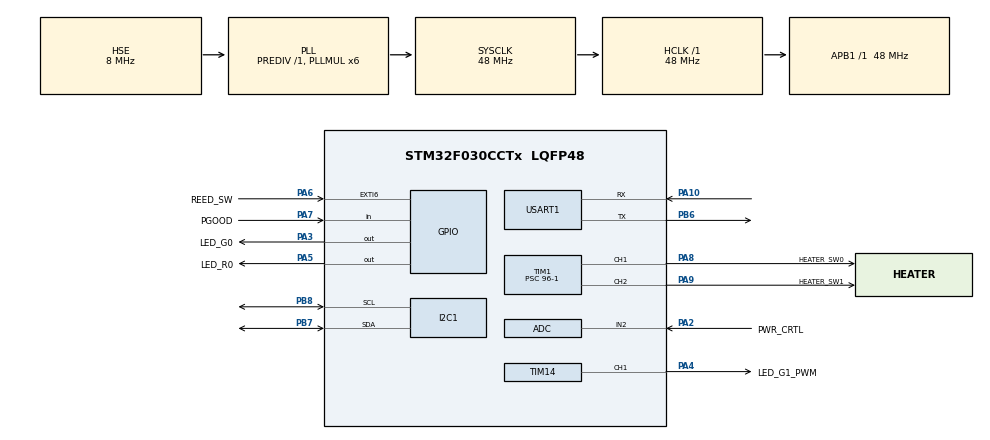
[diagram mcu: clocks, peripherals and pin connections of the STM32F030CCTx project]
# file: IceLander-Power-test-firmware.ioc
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I2C1.Timing=0x20303E5D
Mcu.Family=STM32F0
Mcu.Name=STM32F030CCTx
Mcu.Package=LQFP48
PA10.Mode=Asynchronous
PA10.Signal=USART1_RX
PA13.Mode=Serial_Wire
PA13.Signal=SYS_SWDIO
PA14.Mode=Serial_Wire
PA14.Signal=SYS_SWCLK
PA2.GPIO_Label=PWR_CRTL
PA2.Mode=IN2
PA2.Signal=ADC_IN2
PA3.GPIO_Label=LED_G0
PA3.Signal=GPIO_Output
PA4.GPIO_Label=LED_G1_PWM
PA4.Signal=S_TIM14_CH1
PA5.GPIO_Label=LED_R0
PA5.Signal=GPIO_Output
PA6.GPIO_Label=REED_SW
PA6.Signal=GPXTI6
PA7.GPIO_Label=PGOOD
PA7.Signal=GPIO_Input
PA8.GPIO_Label=HEATER_SW0
PA8.Signal=S_TIM1_CH1
PA9.GPIO_Label=HEATER_SW1
PA9.Signal=S_TIM1_CH2
PB6.Mode=Asynchronous
PB6.Signal=USART1_TX
PB7.Mode=I2C
PB7.Signal=I2C1_SDA
PB8.Mode=I2C
PB8.Signal=I2C1_SCL
PF0-OSC_IN.Mode=HSE-External-Oscillator
PF0-OSC_IN.Signal=RCC_OSC_IN
PF1-OSC_OUT.Mode=HSE-External-Oscillator
PF1-OSC_OUT.Signal=RCC_OSC_OUT
ProjectManager.HeapSize=0x200
ProjectManager.StackSize=0x400
ProjectManager.TargetToolchain=Makefile
RCC.AHBFreq_Value=48000000
RCC.APB1Freq_Value=48000000
RCC.APB1TimFreq_Value=48000000
RCC.HCLKFreq_Value=48000000
RCC.I2c1ClockSelection=RCC_I2C1CLKSOURCE_SYSCLK
RCC.PLLMUL=RCC_PLL_MUL6
RCC.PLLSourceVirtual=RCC_PLLSOURCE_HSE
RCC.SYSCLKFreq_VALUE=48000000
RCC.SYSCLKSource=RCC_SYSCLKSOURCE_PLLCLK
SH.S_TIM14_CH1.0=TIM14_CH1,PWM Generation1 CH1
SH.S_TIM1_CH1.0=TIM1_CH1,PWM Generation1 CH1
SH.S_TIM1_CH2.0=TIM1_CH2,PWM Generation2 CH2
TIM1.Channel-PWM\ Generation1\ CH1=TIM_CHANNEL_1
TIM1.Channel-PWM\ Generation2\ CH2=TIM_CHANNEL_2
TIM1.Period=5000-1
TIM1.Prescaler=96-1
TIM14.Channel=TIM_CHANNEL_1
TIM14.OCPolarity_1=TIM_OCPOLARITY_LOW
TIM14.Period=5000-1
TIM14.Prescaler=96-1
USART1.VirtualMode-Asynchronous=VM_ASYNC
VP_TIM14_VS_ClockSourceINT.Mode=Enable_Timer
VP_TIM1_VS_ClockSourceINT.Mode=Internal
board=custom

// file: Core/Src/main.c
/* USER CODE BEGIN Header */
/**
  ******************************************************************************
  * @file           : main.c
  * @brief          : Main program body
  ******************************************************************************
  * @attention
  *
  * <h2><center>&copy; Copyright (c) 2020 STMicroelectronics.
  * All rights reserved.</center></h2>
  *
  * This software component is licensed by ST under BSD 3-Clause license,
  * the "License"; You may not use this file except in compliance with the
  * License. You may obtain a copy of the License at:
  *                        opensource.org/licenses/BSD-3-Clause
  *
  ******************************************************************************
  */
/* USER CODE END Header */
#include "main.h"

ADC_HandleTypeDef hadc;

I2C_HandleTypeDef hi2c1;

TIM_HandleTypeDef htim1;
TIM_HandleTypeDef htim14;

UART_HandleTypeDef huart1;

void SystemClock_Config(void);
static void MX_GPIO_Init(void);
static void MX_ADC_Init(void);
static void MX_I2C1_Init(void);
static void MX_TIM1_Init(void);
static void MX_USART1_UART_Init(void);
static void MX_TIM14_Init(void);

/* USER CODE BEGIN 0 */
uint16_t mymap(uint16_t x, uint16_t in_min, uint16_t in_max, uint16_t out_min, uint16_t out_max)
{
  return (x - in_min) * (out_max - out_min)/(in_max - in_min) + out_min;
}
/* USER CODE END 0 */

int main(void)
{

  /* MCU Configuration--------------------------------------------------------*/

  /* Reset of all peripherals, Initializes the Flash interface and the Systick. */
  HAL_Init();

  /* Configure the system clock */
  SystemClock_Config();

  /* Initialize all configured peripherals */
  MX_GPIO_Init();
  MX_ADC_Init();
  MX_I2C1_Init();
  MX_TIM1_Init();
  MX_USART1_UART_Init();
  MX_TIM14_Init();
  /* USER CODE BEGIN 2 */
  HAL_TIM_PWM_Start(&htim14, TIM_CHANNEL_1);
  HAL_TIM_PWM_Start(&htim1, TIM_CHANNEL_1);
  HAL_TIM_PWM_Start(&htim1, TIM_CHANNEL_2);

  uint16_t rawadc, intensity, count = 0;
  /* USER CODE END 2 */

  /* Infinite loop */
  /* USER CODE BEGIN WHILE */
  while (1)
  {
    HAL_ADC_Start(&hadc);
    HAL_ADC_PollForConversion(&hadc,HAL_MAX_DELAY);
    rawadc = HAL_ADC_GetValue(&hadc);

    intensity = mymap(rawadc, 0, 4095, 0, 5000);

    htim14.Instance->CCR1 = intensity;
	  htim1.Instance->CCR1 = 2500;
	  htim1.Instance->CCR2 = intensity;

    if(count++ > 999){
      count = 0;
      HAL_GPIO_TogglePin(LED_G0_GPIO_Port,LED_G0_Pin);
    }

    HAL_Delay(1);

    /* USER CODE END WHILE */

  }
}

void SystemClock_Config(void)
{
  RCC_OscInitTypeDef RCC_OscInitStruct = {0};
  RCC_ClkInitTypeDef RCC_ClkInitStruct = {0};
  RCC_PeriphCLKInitTypeDef PeriphClkInit = {0};

  /** Initializes the RCC Oscillators according to the specified parameters
  * in the RCC_OscInitTypeDef structure.
  */
  RCC_OscInitStruct.OscillatorType = RCC_OSCILLATORTYPE_HSI14|RCC_OSCILLATORTYPE_HSE;
  RCC_OscInitStruct.HSEState = RCC_HSE_ON;
  RCC_OscInitStruct.HSI14State = RCC_HSI14_ON;
  RCC_OscInitStruct.HSI14CalibrationValue = 16;
  RCC_OscInitStruct.PLL.PLLState = RCC_PLL_ON;
  RCC_OscInitStruct.PLL.PLLSource = RCC_PLLSOURCE_HSE;
  RCC_OscInitStruct.PLL.PLLMUL = RCC_PLL_MUL6;
  RCC_OscInitStruct.PLL.PREDIV = RCC_PREDIV_DIV1;
  if (HAL_RCC_OscConfig(&RCC_OscInitStruct) != HAL_OK)
  {
    Error_Handler();
  }
  /** Initializes the CPU, AHB and APB buses clocks
  */
  RCC_ClkInitStruct.ClockType = RCC_CLOCKTYPE_HCLK|RCC_CLOCKTYPE_SYSCLK
                              |RCC_CLOCKTYPE_PCLK1;
  RCC_ClkInitStruct.SYSCLKSource = RCC_SYSCLKSOURCE_PLLCLK;
  RCC_ClkInitStruct.AHBCLKDivider = RCC_SYSCLK_DIV1;
  RCC_ClkInitStruct.APB1CLKDivider = RCC_HCLK_DIV1;

  if (HAL_RCC_ClockConfig(&RCC_ClkInitStruct, FLASH_LATENCY_1) != HAL_OK)
  {
    Error_Handler();
  }
  PeriphClkInit.PeriphClockSelection = RCC_PERIPHCLK_USART1|RCC_PERIPHCLK_I2C1;
  PeriphClkInit.Usart1ClockSelection = RCC_USART1CLKSOURCE_PCLK1;
  PeriphClkInit.I2c1ClockSelection = RCC_I2C1CLKSOURCE_SYSCLK;
  if (HAL_RCCEx_PeriphCLKConfig(&PeriphClkInit) != HAL_OK)
  {
    Error_Handler();
  }
}

static void MX_ADC_Init(void)
{

  ADC_ChannelConfTypeDef sConfig = {0};

  /** Configure the global features of the ADC (Clock, Resolution, Data Alignment and number of conversion)
  */
  hadc.Instance = ADC1;
  hadc.Init.ClockPrescaler = ADC_CLOCK_ASYNC_DIV1;
  hadc.Init.Resolution = ADC_RESOLUTION_12B;
  hadc.Init.DataAlign = ADC_DATAALIGN_RIGHT;
  hadc.Init.ScanConvMode = ADC_SCAN_DIRECTION_FORWARD;
  hadc.Init.EOCSelection = ADC_EOC_SINGLE_CONV;
  hadc.Init.LowPowerAutoWait = DISABLE;
  hadc.Init.LowPowerAutoPowerOff = DISABLE;
  hadc.Init.ContinuousConvMode = DISABLE;
  hadc.Init.DiscontinuousConvMode = DISABLE;
  hadc.Init.ExternalTrigConv = ADC_SOFTWARE_START;
  hadc.Init.ExternalTrigConvEdge = ADC_EXTERNALTRIGCONVEDGE_NONE;
  hadc.Init.DMAContinuousRequests = DISABLE;
  hadc.Init.Overrun = ADC_OVR_DATA_PRESERVED;
  if (HAL_ADC_Init(&hadc) != HAL_OK)
  {
    Error_Handler();
  }
  /** Configure for the selected ADC regular channel to be converted.
  */
  sConfig.Channel = ADC_CHANNEL_2;
  sConfig.Rank = ADC_RANK_CHANNEL_NUMBER;
  sConfig.SamplingTime = ADC_SAMPLETIME_1CYCLE_5;
  if (HAL_ADC_ConfigChannel(&hadc, &sConfig) != HAL_OK)
  {
    Error_Handler();
  }

}

static void MX_I2C1_Init(void)
{

  hi2c1.Instance = I2C1;
  hi2c1.Init.Timing = 0x20303E5D;
  hi2c1.Init.OwnAddress1 = 0;
  hi2c1.Init.AddressingMode = I2C_ADDRESSINGMODE_7BIT;
  hi2c1.Init.DualAddressMode = I2C_DUALADDRESS_DISABLE;
  hi2c1.Init.OwnAddress2 = 0;
  hi2c1.Init.OwnAddress2Masks = I2C_OA2_NOMASK;
  hi2c1.Init.GeneralCallMode = I2C_GENERALCALL_DISABLE;
  hi2c1.Init.NoStretchMode = I2C_NOSTRETCH_DISABLE;
  if (HAL_I2C_Init(&hi2c1) != HAL_OK)
  {
    Error_Handler();
  }
  /** Configure Analogue filter
  */
  if (HAL_I2CEx_ConfigAnalogFilter(&hi2c1, I2C_ANALOGFILTER_ENABLE) != HAL_OK)
  {
    Error_Handler();
  }
  /** Configure Digital filter
  */
  if (HAL_I2CEx_ConfigDigitalFilter(&hi2c1, 0) != HAL_OK)
  {
    Error_Handler();
  }

}

static void MX_TIM1_Init(void)
{

  TIM_ClockConfigTypeDef sClockSourceConfig = {0};
  TIM_MasterConfigTypeDef sMasterConfig = {0};
  TIM_OC_InitTypeDef sConfigOC = {0};
  TIM_BreakDeadTimeConfigTypeDef sBreakDeadTimeConfig = {0};

  htim1.Instance = TIM1;
  htim1.Init.Prescaler = 96-1;
  htim1.Init.CounterMode = TIM_COUNTERMODE_UP;
  htim1.Init.Period = 5000-1;
  htim1.Init.ClockDivision = TIM_CLOCKDIVISION_DIV1;
  htim1.Init.RepetitionCounter = 0;
  htim1.Init.AutoReloadPreload = TIM_AUTORELOAD_PRELOAD_DISABLE;
  if (HAL_TIM_Base_Init(&htim1) != HAL_OK)
  {
    Error_Handler();
  }
  sClockSourceConfig.ClockSource = TIM_CLOCKSOURCE_INTERNAL;
  if (HAL_TIM_ConfigClockSource(&htim1, &sClockSourceConfig) != HAL_OK)
  {
    Error_Handler();
  }
  if (HAL_TIM_PWM_Init(&htim1) != HAL_OK)
  {
    Error_Handler();
  }
  sMasterConfig.MasterOutputTrigger = TIM_TRGO_RESET;
  sMasterConfig.MasterSlaveMode = TIM_MASTERSLAVEMODE_DISABLE;
  if (HAL_TIMEx_MasterConfigSynchronization(&htim1, &sMasterConfig) != HAL_OK)
  {
    Error_Handler();
  }
  sConfigOC.OCMode = TIM_OCMODE_PWM1;
  sConfigOC.Pulse = 0;
  sConfigOC.OCPolarity = TIM_OCPOLARITY_HIGH;
  sConfigOC.OCNPolarity = TIM_OCNPOLARITY_HIGH;
  sConfigOC.OCFastMode = TIM_OCFAST_DISABLE;
  sConfigOC.OCIdleState = TIM_OCIDLESTATE_RESET;
  sConfigOC.OCNIdleState = TIM_OCNIDLESTATE_RESET;
  if (HAL_TIM_PWM_ConfigChannel(&htim1, &sConfigOC, TIM_CHANNEL_1) != HAL_OK)
  {
    Error_Handler();
  }
  if (HAL_TIM_PWM_ConfigChannel(&htim1, &sConfigOC, TIM_CHANNEL_2) != HAL_OK)
  {
    Error_Handler();
  }
  sBreakDeadTimeConfig.OffStateRunMode = TIM_OSSR_DISABLE;
  sBreakDeadTimeConfig.OffStateIDLEMode = TIM_OSSI_DISABLE;
  sBreakDeadTimeConfig.LockLevel = TIM_LOCKLEVEL_OFF;
  sBreakDeadTimeConfig.DeadTime = 0;
  sBreakDeadTimeConfig.BreakState = TIM_BREAK_DISABLE;
  sBreakDeadTimeConfig.BreakPolarity = TIM_BREAKPOLARITY_HIGH;
  sBreakDeadTimeConfig.AutomaticOutput = TIM_AUTOMATICOUTPUT_DISABLE;
  if (HAL_TIMEx_ConfigBreakDeadTime(&htim1, &sBreakDeadTimeConfig) != HAL_OK)
  {
    Error_Handler();
  }
  HAL_TIM_MspPostInit(&htim1);

}

static void MX_TIM14_Init(void)
{

  TIM_OC_InitTypeDef sConfigOC = {0};

  htim14.Instance = TIM14;
  htim14.Init.Prescaler = 96-1;
  htim14.Init.CounterMode = TIM_COUNTERMODE_UP;
  htim14.Init.Period = 5000-1;
  htim14.Init.ClockDivision = TIM_CLOCKDIVISION_DIV1;
  htim14.Init.AutoReloadPreload = TIM_AUTORELOAD_PRELOAD_DISABLE;
  if (HAL_TIM_Base_Init(&htim14) != HAL_OK)
  {
    Error_Handler();
  }
  if (HAL_TIM_PWM_Init(&htim14) != HAL_OK)
  {
    Error_Handler();
  }
  sConfigOC.OCMode = TIM_OCMODE_PWM1;
  sConfigOC.Pulse = 0;
  sConfigOC.OCPolarity = TIM_OCPOLARITY_LOW;
  sConfigOC.OCFastMode = TIM_OCFAST_DISABLE;
  if (HAL_TIM_PWM_ConfigChannel(&htim14, &sConfigOC, TIM_CHANNEL_1) != HAL_OK)
  {
    Error_Handler();
  }
  HAL_TIM_MspPostInit(&htim14);

}

static void MX_USART1_UART_Init(void)
{

  huart1.Instance = USART1;
  huart1.Init.BaudRate = 115200;
  huart1.Init.WordLength = UART_WORDLENGTH_8B;
  huart1.Init.StopBits = UART_STOPBITS_1;
  huart1.Init.Parity = UART_PARITY_NONE;
  huart1.Init.Mode = UART_MODE_TX_RX;
  huart1.Init.HwFlowCtl = UART_HWCONTROL_NONE;
  huart1.Init.OverSampling = UART_OVERSAMPLING_16;
  huart1.Init.OneBitSampling = UART_ONE_BIT_SAMPLE_DISABLE;
  huart1.AdvancedInit.AdvFeatureInit = UART_ADVFEATURE_NO_INIT;
  if (HAL_UART_Init(&huart1) != HAL_OK)
  {
    Error_Handler();
  }

}

static void MX_GPIO_Init(void)
{
  GPIO_InitTypeDef GPIO_InitStruct = {0};

  /* GPIO Ports Clock Enable */
  __HAL_RCC_GPIOF_CLK_ENABLE();
  __HAL_RCC_GPIOA_CLK_ENABLE();
  __HAL_RCC_GPIOB_CLK_ENABLE();

  /*Configure GPIO pin Output Level */
  HAL_GPIO_WritePin(GPIOA, LED_G0_Pin|LED_R0_Pin, GPIO_PIN_RESET);

  /*Configure GPIO pins : LED_G0_Pin LED_R0_Pin */
  GPIO_InitStruct.Pin = LED_G0_Pin|LED_R0_Pin;
  GPIO_InitStruct.Mode = GPIO_MODE_OUTPUT_PP;
  GPIO_InitStruct.Pull = GPIO_NOPULL;
  GPIO_InitStruct.Speed = GPIO_SPEED_FREQ_LOW;
  HAL_GPIO_Init(GPIOA, &GPIO_InitStruct);

  /*Configure GPIO pin : REED_SW_Pin */
  GPIO_InitStruct.Pin = REED_SW_Pin;
  GPIO_InitStruct.Mode = GPIO_MODE_IT_RISING;
  GPIO_InitStruct.Pull = GPIO_NOPULL;
  HAL_GPIO_Init(REED_SW_GPIO_Port, &GPIO_InitStruct);

  /*Configure GPIO pin : PGOOD_Pin */
  GPIO_InitStruct.Pin = PGOOD_Pin;
  GPIO_InitStruct.Mode = GPIO_MODE_INPUT;
  GPIO_InitStruct.Pull = GPIO_NOPULL;
  HAL_GPIO_Init(PGOOD_GPIO_Port, &GPIO_InitStruct);

}

void Error_Handler(void)
{
}

/************************ (C) COPYRIGHT STMicroelectronics *****END OF FILE****/
